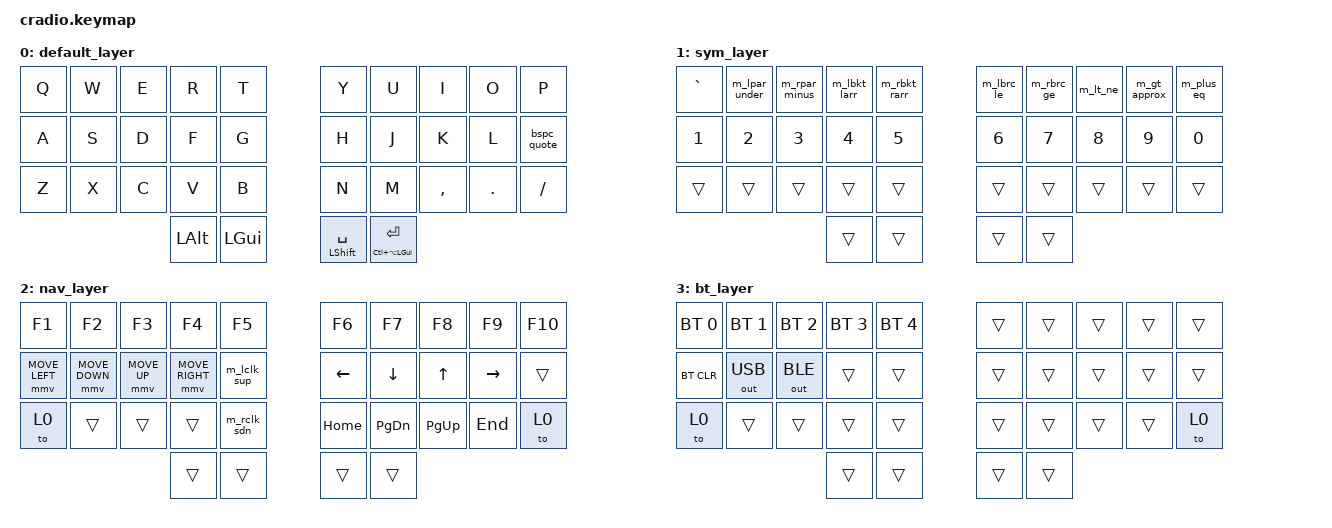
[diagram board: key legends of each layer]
#include <behaviors.dtsi>
#include <dt-bindings/zmk/keys.h>
#include <dt-bindings/zmk/bt.h>
#include <dt-bindings/zmk/outputs.h>
#include <dt-bindings/zmk/pointing.h>

// Key position map
// ┌──────────────────────────────────────────────────────────┐
// │  0   1   2   3   4  │  5   6   7   8   9                │
// │ 10  11  12  13  14  │ 15  16  17  18  19                │
// │ 20  21  22  23  24  │ 25  26  27  28  29                │
// │             30  31  │ 32  33                             │
// └──────────────────────────────────────────────────────────┘
//
// Row 0:  Q   W   E   R   T  │  Y   U   I   O   P
// Row 1:  A   S   D   F   G  │  H   J   K   L  BSP
// Row 2:  Z   X   C   V   B  │  N   M   ,   .   /
// Thumb: ALT GUI              │ S/SP ENT/HYP
//
// Layer switches (combos): G+H -> 0, F+J -> 1, D+K -> 2, Q+P -> 3
// Momentary holds (combos): inside thumbs 31+32 -> layer 1, outside thumbs 30+33 -> layer 2

/ {
    macros {
        // macOS "Unicode Hex Input": hold Option, type the hex code, release.
        // ← U+2190
        uni_larr: uni_larr {
            compatible = "zmk,behavior-macro";
            #binding-cells = <0>;
            bindings
                = <&macro_press &kp LALT>
                , <&macro_tap &kp N2 &kp N1 &kp N9 &kp N0>
                , <&macro_release &kp LALT>;
        };

        // → U+2192
        uni_rarr: uni_rarr {
            compatible = "zmk,behavior-macro";
            #binding-cells = <0>;
            bindings
                = <&macro_press &kp LALT>
                , <&macro_tap &kp N2 &kp N1 &kp N9 &kp N2>
                , <&macro_release &kp LALT>;
        };
    };

    behaviors {
        // Thumb hold-tap: tap=key, hold=modifier
        th: thumb_hold_tap {
            compatible = "zmk,behavior-hold-tap";
            #binding-cells = <2>;
            tapping-term-ms = <200>;
            quick-tap-ms = <150>;
            flavor = "balanced";
            bindings = <&kp>, <&kp>;
        };

        // Quote tap-dance: 1 tap = ' , 2 fast taps = "
        td_quote: td_quote {
            compatible = "zmk,behavior-tap-dance";
            #binding-cells = <0>;
            tapping-term-ms = <200>;
            bindings = <&kp APOS>, <&kp DQT>;
        };

        // Backspace normally; on Shift, a single/double-quote tap-dance.
        bspc_quote: backspace_quote_mod_morph {
            compatible = "zmk,behavior-mod-morph";
            #binding-cells = <0>;
            bindings = <&kp BSPC>, <&td_quote>;
            mods = <(MOD_LSFT|MOD_RSFT)>;
        };

        // Layer 1 row 0 mod-morphs: base symbol unshifted, math glyph on Shift.
        // ( / _
        m_lpar_under: m_lpar_under {
            compatible = "zmk,behavior-mod-morph";
            #binding-cells = <0>;
            bindings = <&kp LPAR>, <&kp UNDER>;
            mods = <(MOD_LSFT|MOD_RSFT)>;
        };
        // ) / -
        m_rpar_minus: m_rpar_minus {
            compatible = "zmk,behavior-mod-morph";
            #binding-cells = <0>;
            bindings = <&kp RPAR>, <&kp MINUS>;
            mods = <(MOD_LSFT|MOD_RSFT)>;
        };
        // [ / ← (Unicode)
        m_lbkt_larr: m_lbkt_larr {
            compatible = "zmk,behavior-mod-morph";
            #binding-cells = <0>;
            bindings = <&kp LBKT>, <&uni_larr>;
            mods = <(MOD_LSFT|MOD_RSFT)>;
        };
        // ] / → (Unicode)
        m_rbkt_rarr: m_rbkt_rarr {
            compatible = "zmk,behavior-mod-morph";
            #binding-cells = <0>;
            bindings = <&kp RBKT>, <&uni_rarr>;
            mods = <(MOD_LSFT|MOD_RSFT)>;
        };
        // { / ≤  (macOS Option+,)
        m_lbrc_le: m_lbrc_le {
            compatible = "zmk,behavior-mod-morph";
            #binding-cells = <0>;
            bindings = <&kp LBRC>, <&kp RA(COMMA)>;
            mods = <(MOD_LSFT|MOD_RSFT)>;
        };
        // } / ≥  (macOS Option+.)
        m_rbrc_ge: m_rbrc_ge {
            compatible = "zmk,behavior-mod-morph";
            #binding-cells = <0>;
            bindings = <&kp RBRC>, <&kp RA(DOT)>;
            mods = <(MOD_LSFT|MOD_RSFT)>;
        };
        // < / ≠  (macOS Option+=)
        m_lt_ne: m_lt_ne {
            compatible = "zmk,behavior-mod-morph";
            #binding-cells = <0>;
            bindings = <&kp LT>, <&kp RA(EQUAL)>;
            mods = <(MOD_LSFT|MOD_RSFT)>;
        };
        // > / ≈  (macOS Option+x)
        m_gt_approx: m_gt_approx {
            compatible = "zmk,behavior-mod-morph";
            #binding-cells = <0>;
            bindings = <&kp GT>, <&kp RA(X)>;
            mods = <(MOD_LSFT|MOD_RSFT)>;
        };
        // + / =
        m_plus_eq: m_plus_eq {
            compatible = "zmk,behavior-mod-morph";
            #binding-cells = <0>;
            bindings = <&kp PLUS>, <&kp EQUAL>;
            mods = <(MOD_LSFT|MOD_RSFT)>;
        };

        // Layer 2 mouse mod-morphs: click unshifted, scroll on Shift.
        // Left click / scroll up
        m_lclk_sup: m_lclk_sup {
            compatible = "zmk,behavior-mod-morph";
            #binding-cells = <0>;
            bindings = <&mkp LCLK>, <&msc SCRL_UP>;
            mods = <(MOD_LSFT|MOD_RSFT)>;
        };
        // Right click / scroll down
        m_rclk_sdn: m_rclk_sdn {
            compatible = "zmk,behavior-mod-morph";
            #binding-cells = <0>;
            bindings = <&mkp RCLK>, <&msc SCRL_DOWN>;
            mods = <(MOD_LSFT|MOD_RSFT)>;
        };
    };

    combos {
        compatible = "zmk,combos";

        // ---- Letter combos: 75 ms + idle guard so they don't fire mid-word ----

        // S + D -> Escape
        esc_combo {
            timeout-ms = <75>;
            require-prior-idle-ms = <125>;
            key-positions = <11 12>;
            bindings = <&kp ESC>;
        };

        // Left outer thumb + S -> Caps Lock
        caps_combo {
            timeout-ms = <75>;
            require-prior-idle-ms = <125>;
            key-positions = <30 11>;
            bindings = <&kp CAPS>;
        };

        // D + F -> Tab
        tab_combo {
            timeout-ms = <75>;
            require-prior-idle-ms = <125>;
            key-positions = <12 13>;
            bindings = <&kp TAB>;
        };

        // ---- Thumb holds: 150 ms + slow-release ----

        // Left thumbs (30 + 31) -> momentary Ctrl
        ctrl_hold {
            timeout-ms = <150>;
            key-positions = <30 31>;
            bindings = <&kp LCTRL>;
            slow-release;
        };

        // Inside thumbs (31 + 32) -> momentary layer 1
        sym_hold {
            timeout-ms = <150>;
            key-positions = <31 32>;
            bindings = <&mo 1>;
            slow-release;
        };

        // Outside thumbs (30 + 33) -> momentary layer 2
        nav_hold {
            timeout-ms = <150>;
            key-positions = <30 33>;
            bindings = <&mo 2>;
            slow-release;
        };

        // ---- Layer switches: 100 ms, &to (switch-and-latch) ----

        // G + H -> base layer. Idle guard because the "gh" digraph is common.
        home_combo {
            timeout-ms = <100>;
            require-prior-idle-ms = <125>;
            key-positions = <14 15>;
            bindings = <&to 0>;
        };

        // F + J -> layer 1 (Sym + Num)
        sym_switch {
            timeout-ms = <100>;
            key-positions = <13 16>;
            bindings = <&to 1>;
        };

        // D + K -> layer 2 (Nav)
        nav_switch {
            timeout-ms = <100>;
            key-positions = <12 17>;
            bindings = <&to 2>;
        };

        // Q + P -> layer 3 (BT/System)
        bt_switch {
            timeout-ms = <100>;
            key-positions = <0 9>;
            bindings = <&to 3>;
        };
    };

    keymap {
        compatible = "zmk,keymap";

        // Layer 0 — Default QWERTY
        default_layer {
            bindings = <
&kp Q  &kp W  &kp E  &kp R  &kp T      &kp Y  &kp U     &kp I      &kp O    &kp P
&kp A  &kp S  &kp D  &kp F  &kp G      &kp H  &kp J     &kp K      &kp L    &bspc_quote
&kp Z  &kp X  &kp C  &kp V  &kp B      &kp N  &kp M     &kp COMMA  &kp DOT  &kp SLASH
                  &kp LALT  &kp LGUI   &th LSHFT SPC  &th LC(LA(LGUI)) ENTER
            >;
        };

        // Layer 1 — Symbols + Numbers
        // Switch: F+J   Home: G+H   Momentary: inside thumbs 31+32
        // Row 0 unshifted: ` ( ) [ ] { } < > +
        // Row 0 shifted:   ~ _ - ← → ≤ ≥ ≠ ≈ =
        // Row 1: digits 1-0 (Shift -> ! @ # $ % ^ & * ( ))
        sym_layer {
            bindings = <
&kp GRAVE  &m_lpar_under  &m_rpar_minus  &m_lbkt_larr  &m_rbkt_rarr     &m_lbrc_le  &m_rbrc_ge  &m_lt_ne  &m_gt_approx  &m_plus_eq
&kp N1     &kp N2         &kp N3         &kp N4        &kp N5            &kp N6      &kp N7      &kp N8    &kp N9        &kp N0
&trans     &trans         &trans         &trans        &trans           &trans      &trans      &trans    &trans        &trans
                                     &trans  &trans                     &trans  &trans
            >;
        };

        // Layer 2 — Nav + Function keys + mouse
        // Switch: D+K   Home: G+H or single Z// exit   Momentary: outside thumbs 30+33
        nav_layer {
            bindings = <
&kp F1   &kp F2   &kp F3  &kp F4  &kp F5     &kp F6    &kp F7    &kp F8    &kp F9     &kp F10
&mmv MOVE_LEFT  &mmv MOVE_DOWN  &mmv MOVE_UP  &mmv MOVE_RIGHT  &m_lclk_sup   &kp LEFT  &kp DOWN  &kp UP    &kp RIGHT  &trans
&to 0           &trans          &trans        &trans           &m_rclk_sdn   &kp HOME  &kp PG_DN &kp PG_UP &kp END    &to 0
                      &trans  &trans         &trans  &trans
            >;
        };

        // Layer 3 — Bluetooth + System
        // Switch: Q+P   Home: G+H or single Z// exit
        // Row 0: select BT profile 0–4
        // Row 1: clear pairings | USB output | BLE output
        bt_layer {
            bindings = <
&bt BT_SEL 0  &bt BT_SEL 1  &bt BT_SEL 2  &bt BT_SEL 3  &bt BT_SEL 4    &trans  &trans  &trans  &trans  &trans
&bt BT_CLR    &out OUT_USB  &out OUT_BLE  &trans        &trans           &trans  &trans  &trans  &trans  &trans
&to 0         &trans        &trans        &trans        &trans           &trans  &trans  &trans  &trans  &to 0
                                &trans  &trans                           &trans  &trans
            >;
        };
    };
};
